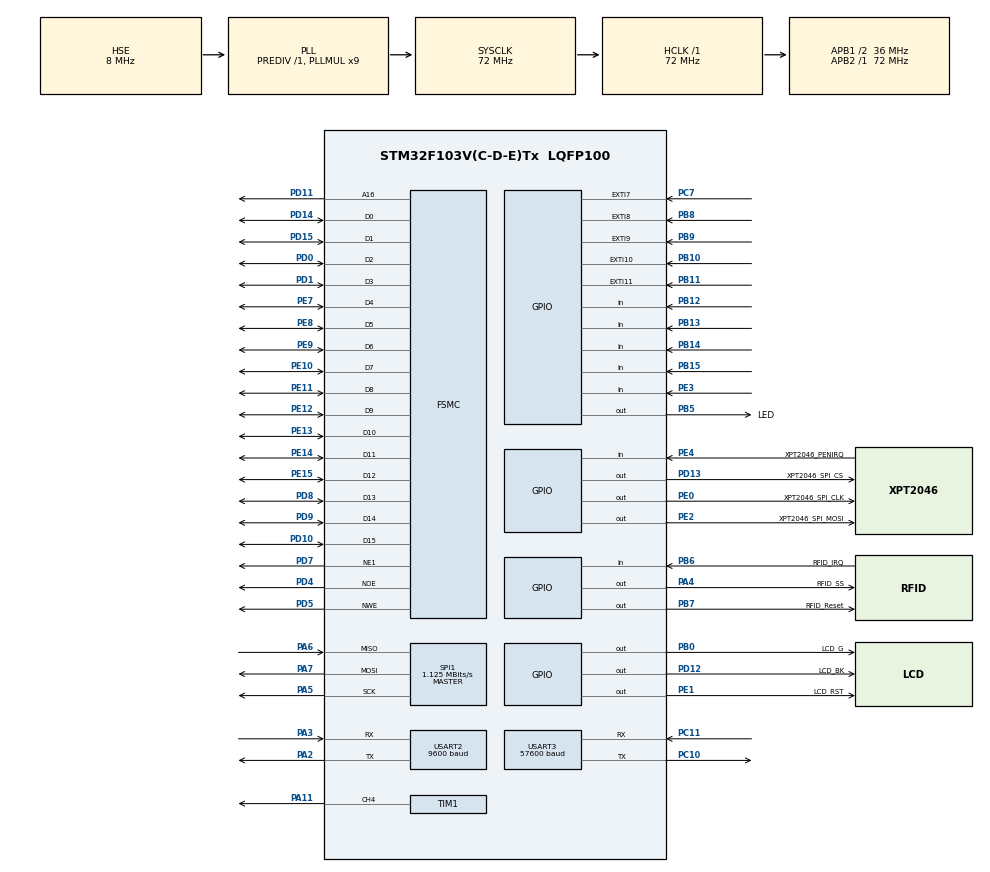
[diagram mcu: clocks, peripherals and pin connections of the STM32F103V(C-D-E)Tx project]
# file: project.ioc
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Mcu.Family=STM32F1
Mcu.Name=STM32F103V(C-D-E)Tx
Mcu.Package=LQFP100
NVIC.EXTI15_10_IRQn=true\:3\:0\:true\:false\:true\:true\:true\:true
NVIC.EXTI9_5_IRQn=true\:3\:0\:true\:false\:true\:true\:true\:true
NVIC.PriorityGroup=NVIC_PRIORITYGROUP_4
NVIC.TIM2_IRQn=true\:0\:0\:false\:false\:true\:true\:true\:true
NVIC.TIM5_IRQn=true\:2\:0\:true\:false\:true\:true\:true\:true
NVIC.USART2_IRQn=true\:0\:0\:false\:false\:true\:true\:true\:true
NVIC.USART3_IRQn=true\:0\:0\:false\:false\:true\:true\:true\:true
OSC_IN.Mode=HSE-External-Oscillator
OSC_IN.Signal=RCC_OSC_IN
OSC_OUT.Mode=HSE-External-Oscillator
OSC_OUT.Signal=RCC_OSC_OUT
PA11.GPIO_Speed=GPIO_SPEED_FREQ_HIGH
PA11.Signal=S_TIM1_CH4
PA13.Mode=Serial_Wire
PA13.Signal=SYS_JTMS-SWDIO
PA14.Mode=Serial_Wire
PA14.Signal=SYS_JTCK-SWCLK
PA2.Mode=Asynchronous
PA2.Signal=USART2_TX
PA3.Mode=Asynchronous
PA3.Signal=USART2_RX
PA4.GPIO_Label=RFID_SS
PA4.GPIO_PuPd=GPIO_NOPULL
PA4.GPIO_Speed=GPIO_SPEED_FREQ_HIGH
PA4.PinState=GPIO_PIN_SET
PA4.Signal=GPIO_Output
PA5.Mode=Full_Duplex_Master
PA5.Signal=SPI1_SCK
PA6.Mode=Full_Duplex_Master
PA6.Signal=SPI1_MISO
PA7.Mode=Full_Duplex_Master
PA7.Signal=SPI1_MOSI
PA8.GPIO_Speed=GPIO_SPEED_FREQ_HIGH
PA8.Signal=RCC_MCO
PB0.GPIO_Label=LCD_G
PB0.GPIO_Speed=GPIO_SPEED_FREQ_HIGH
PB0.PinState=GPIO_PIN_SET
PB0.Signal=GPIO_Output
PB10.GPIO_ModeDefaultEXTI=GPIO_MODE_IT_FALLING
PB10.GPIO_PuPd=GPIO_PULLUP
PB10.Signal=GPXTI10
PB11.GPIO_PuPd=GPIO_PULLUP
PB11.Signal=GPXTI11
PB12.GPIO_PuPd=GPIO_PULLDOWN
PB12.Signal=GPIO_Input
PB13.GPIO_PuPd=GPIO_PULLDOWN
PB13.Signal=GPIO_Input
PB14.GPIO_PuPd=GPIO_PULLDOWN
PB14.Signal=GPIO_Input
PB15.GPIO_Mode=GPIO_MODE_INPUT
PB15.GPIO_PuPd=GPIO_PULLDOWN
PB15.Signal=GPIO_Input
PB5.GPIO_Label=LED
PB5.GPIO_Speed=GPIO_SPEED_FREQ_HIGH
PB5.PinState=GPIO_PIN_SET
PB5.Signal=GPIO_Output
PB6.GPIO_Label=RFID_IRQ
PB6.Signal=GPIO_Input
PB7.GPIO_Label=RFID_Reset
PB7.GPIO_Speed=GPIO_SPEED_FREQ_HIGH
PB7.Signal=GPIO_Output
PB8.GPIO_ModeDefaultEXTI=GPIO_MODE_IT_FALLING
PB8.GPIO_PuPd=GPIO_PULLUP
PB8.Signal=GPXTI8
PB9.GPIO_ModeDefaultEXTI=GPIO_MODE_IT_FALLING
PB9.GPIO_PuPd=GPIO_PULLUP
PB9.Signal=GPXTI9
PC10.Mode=Asynchronous
PC10.Signal=USART3_TX
PC11.Mode=Asynchronous
PC11.Signal=USART3_RX
PC14-OSC32_IN.Mode=LSE-External-Oscillator
PC14-OSC32_IN.Signal=RCC_OSC32_IN
PC15-OSC32_OUT.Mode=LSE-External-Oscillator
PC15-OSC32_OUT.Signal=RCC_OSC32_OUT
PC7.GPIO_ModeDefaultEXTI=GPIO_MODE_IT_FALLING
PC7.GPIO_PuPd=GPIO_PULLUP
PC7.Signal=GPXTI7
PD0.Mode=16b-d1
PD0.Signal=FSMC_D2
PD1.Mode=16b-d1
PD1.Signal=FSMC_D3
PD10.Mode=16b-d1
PD10.Signal=FSMC_D15
PD11.Mode=A16_1
PD11.Signal=FSMC_A16
PD12.GPIO_Label=LCD_BK
PD12.GPIO_Speed=GPIO_SPEED_FREQ_LOW
PD12.PinState=GPIO_PIN_RESET
PD12.Signal=GPIO_Output
PD13.GPIO_Label=XPT2046_SPI_CS
PD13.PinState=GPIO_PIN_RESET
PD13.Signal=GPIO_Output
PD14.Mode=16b-d1
PD14.Signal=FSMC_D0
PD15.Mode=16b-d1
PD15.Signal=FSMC_D1
PD4.Mode=Lcd1
PD4.Signal=FSMC_NOE
PD5.Mode=Lcd1
PD5.Signal=FSMC_NWE
PD7.Mode=NorPsramChipSelect1_1
PD7.Signal=FSMC_NE1
PD8.Mode=16b-d1
PD8.Signal=FSMC_D13
PD9.Mode=16b-d1
PD9.Signal=FSMC_D14
PE0.GPIO_Label=XPT2046_SPI_CLK
PE0.Signal=GPIO_Output
PE1.GPIO_Label=LCD_RST
PE1.GPIO_Speed=GPIO_SPEED_FREQ_LOW
PE1.Signal=GPIO_Output
PE10.Mode=16b-d1
PE10.Signal=FSMC_D7
PE11.Mode=16b-d1
PE11.Signal=FSMC_D8
PE12.Mode=16b-d1
PE12.Signal=FSMC_D9
PE13.Mode=16b-d1
PE13.Signal=FSMC_D10
PE14.Mode=16b-d1
PE14.Signal=FSMC_D11
PE15.Mode=16b-d1
PE15.Signal=FSMC_D12
PE2.GPIO_Label=XPT2046_SPI_MOSI
PE2.Signal=GPIO_Output
PE3.Signal=GPIO_Input
PE4.GPIO_Label=XPT2046_PENIRQ
PE4.GPIO_Mode=GPIO_MODE_INPUT
PE4.Signal=GPIO_Input
PE7.Mode=16b-d1
PE7.Signal=FSMC_D4
PE8.Mode=16b-d1
PE8.Signal=FSMC_D5
PE9.Mode=16b-d1
PE9.Signal=FSMC_D6
ProjectManager.HeapSize=0x200
ProjectManager.StackSize=0x400
ProjectManager.TargetToolchain=STM32CubeIDE
RCC.AHBFreq_Value=72000000
RCC.APB1CLKDivider=RCC_HCLK_DIV2
RCC.APB1Freq_Value=36000000
RCC.APB1TimFreq_Value=72000000
RCC.APB2Freq_Value=72000000
RCC.APB2TimFreq_Value=72000000
RCC.HCLKFreq_Value=72000000
RCC.HSICalibrationValue=16
RCC.PLLMUL=RCC_PLL_MUL9
RCC.PLLSourceVirtual=RCC_PLLSOURCE_HSE
RCC.SYSCLKFreq_VALUE=72000000
RCC.SYSCLKSource=RCC_SYSCLKSOURCE_PLLCLK
RCC.USBFreq_Value=72000000
RTC.Date=28
RTC.Format=RTC_FORMAT_BCD
RTC.Hours=11
RTC.Minutes=30
RTC.Month=RTC_MONTH_NOVEMBER
RTC.Seconds=0
RTC.WeekDay=RTC_WEEKDAY_THURSDAY
RTC.Year=24
SH.S_TIM1_CH4.0=TIM1_CH4,PWM Generation4 CH4
SPI1.BaudRatePrescaler=SPI_BAUDRATEPRESCALER_64
SPI1.CalculateBaudRate=1.125 MBits/s
SPI1.Direction=SPI_DIRECTION_2LINES
SPI1.FirstBit=SPI_FIRSTBIT_LSB
SPI1.Mode=SPI_MODE_MASTER
SPI1.VirtualType=VM_MASTER
TIM1.Channel-PWM\ Generation4\ CH4=TIM_CHANNEL_4
TIM1.OCPolarity_4=TIM_OCPOLARITY_LOW
TIM1.Period=200-1
TIM1.Prescaler=3200-1
TIM1.Pulse-PWM\ Generation4\ CH4=190
TIM2.AutoReloadPreload=TIM_AUTORELOAD_PRELOAD_ENABLE
TIM2.Period=1999
TIM2.Prescaler=720
TIM5.AutoReloadPreload=TIM_AUTORELOAD_PRELOAD_DISABLE
TIM5.Period=9999
TIM5.Prescaler=7999
USART2.BaudRate=9600
USART2.VirtualMode=VM_ASYNC
USART3.BaudRate=57600
USART3.VirtualMode=VM_ASYNC
VP_RTC_VS_RTC_Activate.Mode=RTC_Enabled
VP_RTC_VS_RTC_Calendar.Mode=RTC_Calendar
VP_TIM1_VS_ClockSourceINT.Mode=Internal
VP_TIM2_VS_ClockSourceINT.Mode=Internal
VP_TIM5_VS_ClockSourceINT.Mode=Internal
board=custom

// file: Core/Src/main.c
/* USER CODE BEGIN Header */
/**
  ******************************************************************************
  * @file           : main.c
  * @brief          : Main program body
  ******************************************************************************
  * @attention
  *
  * <h2><center>&copy; Copyright (c) 2019 STMicroelectronics.
  * All rights reserved.</center></h2>
  *
  * This software component is licensed by ST under BSD 3-Clause license,
  * the "License"; You may not use this file except in compliance with the
  * License. You may obtain a copy of the License at:
  *                        opensource.org/licenses/BSD-3-Clause
  *
  ******************************************************************************
  */
/* USER CODE END Header */
#include "main.h"
#include "rtc.h"
#include "spi.h"
#include "tim.h"
#include "usart.h"
#include "gpio.h"
#include "fsmc.h"

/* USER CODE BEGIN Includes */
#include "lcdtp.h"
#include "xpt2046.h"
#include "help.h"
#include "pn532_stm32f1.h"
#include "mylibrary.h"
#include "syn6288.h"
#include <stdio.h>
#include <stdlib.h>
#include <time.h>
#include "as608.h"
/* USER CODE END Includes */

/* USER CODE BEGIN PD */

#define use_HEXADECIMAL

/* USER CODE END PD */

/* USER CODE BEGIN PV */

extern RTC_HandleTypeDef hrtc;
char now_time[20];

/* USER CODE END PV */

void SystemClock_Config(void);

/* USER CODE BEGIN 0 */

int testpassword = 0;
int oldpassword = 1234; // 全局变量
int managerpassword = 2345;
int position = 80;

strType_XPT2046_Coordinate strDisplayCoordinate; // 全局变量
char* NFC_KEYS[5] = {NULL}; // 初始化所有元素为NULL
char manager_nfc[50];
uint8_t returnToNFCMenu = 0; // 初始化标志位
int size_NFC = 1;

uint8_t RX_dat = 0;
int count = 0;
///////////////////////////////////////////////////////////
uint8_t SYS6288Rx = 0; // 语音模块接收缓冲�???????????????
extern uint8_t suoyidakai[] ;
extern uint8_t suoyiguanbi[];
extern uint8_t mimacuowu[]; // 密码错误
extern uint8_t jinruguanliyemian[]; // 进入管理员界�?
extern uint8_t tuichuguanliyemian[]; // �?出管理员界面
extern uint8_t cuowu[];
extern uint8_t jinggao[] ;// 警告
extern uint8_t jingbaojiechuy[];//警报解除
//////////////////////////////////////////////////////

void HAL_UART_RxCpltCallback(UART_HandleTypeDef *huart) //syn6288
{
	if (huart->Instance == USART2)
	{
		HAL_UART_Receive_IT(&huart2, &SYS6288Rx, 1);
		//HAL_UART_Receive_IT(&UART2_Handler, &SYS6288Rx, 1);
	}
}

volatile uint32_t seconds = 0;
char left_scond[255];

void HAL_TIM_PeriodElapsedCallback(TIM_HandleTypeDef *htim) {
    if (htim->Instance == TIM5) { // 假设使用TIM2
        seconds++;
    }
}

uint16_t currentFingerprintCount = 0;

/////////////"ERROR-time"///////////////////////
int test_time = 0;
int finger_time = 0;
int nfc_time = 0;
/////////////////////////////////////////////////
int returnTomain = 0;
int enter = 0;
/* USER CODE END 0 */

int main(void)
{
  /* USER CODE BEGIN 1 */
	 NFC_KEYS[0] = strdup("8A 19 43 02");
  /* USER CODE END 1 */

  /* MCU Configuration--------------------------------------------------------*/

  /* Reset of all peripherals, Initializes the Flash interface and the Systick. */
  HAL_Init();

  /* Configure the system clock */
  SystemClock_Config();

  /* Initialize all configured peripherals */
  MX_GPIO_Init();
  MX_FSMC_Init();
  MX_TIM2_Init();
  MX_SPI1_Init();
  MX_TIM1_Init();
  MX_USART2_UART_Init();
  MX_TIM5_Init();
  MX_RTC_Init();
  MX_USART3_UART_Init();
  /* USER CODE BEGIN 2 */

  int currentPosition = 170;//lock
  HAL_TIM_PWM_Start(&htim1, TIM_CHANNEL_4);
  TIM1->CCR4 = currentPosition;
  HAL_Delay(200);

  macXPT2046_CS_DISABLE();

  LCD_INIT();

  LCD_Clear(50, 80, 140, 70, RED);
  LCD_DrawString(68, 100, "TOUCHPAD DEMO");
  HAL_Delay(2000);

  while (!XPT2046_Touch_Calibrate());

  //////////////////////"pn532-start"////////////////////
  HAL_Delay(1000);
  memset(buffer, 0, sizeof(buffer));
  HAL_TIM_Base_Start_IT(&htim2);
  HAL_TIM_Base_Start_IT(&htim5); // 启动定时器中�???????????

  uint8_t buff[255];
  uint8_t uid[MIFARE_UID_MAX_LENGTH];
 // int32_t uid_len = 0;

  PN532 pn532;
  PN532_SPI_Init(&pn532);
  HAL_Delay(100); // 等待PN532模块稳定

  int status = PN532_GetFirmwareVersion(&pn532, buff);
      if (status != PN532_STATUS_OK)
      {
          char debug_msg[50];
          sprintf(debug_msg, "Firmware version error: %d", status);
          LCD_DrawString(60, 160, debug_msg);
      while(1)
      {
    	  LCD_DrawString(60, 180, "can not go inside !");
      }
      }
      else
      {
    	  LCD_DrawString(60, 160, "hello oooooooo");
    	  HAL_Delay(100);
      }
  PN532_SamConfiguration(&pn532);

  ////////////////////"pn532-end///////////////
  ////////////////////"as608-start//////////////
  as608_init(); // initial the as608
  PS_Empty();

  ////////////////////"as608-end"///////////////

  /* USER CODE END 2 */

  /* Infinite loop */
  /* USER CODE BEGIN WHILE */

  strType_XPT2046_Coordinate strDisplayCoordinate;

  ///////////////////////////////

  ////////////////////////////////////

  // 绘制母循环界�????????????????????????????????
  DrawMainMenu();
  SYS6288_uartInit(9600);					//语音串口
  HAL_TIM_Base_Start(&htim5);

  while (1)
  {
      RTC_TimeTypeDef sTime;
      RTC_DateTypeDef sDate;

      // 获取当前时间
      HAL_RTC_GetTime(&hrtc, &sTime, RTC_FORMAT_BIN);
      HAL_RTC_GetDate(&hrtc, &sDate, RTC_FORMAT_BIN);

      char* week_days[] = {"Sun", "Mon", "Tue", "Wed", "Thu", "Fri", "Sat"};
      char now_date[20];
      sprintf(now_date, "%04d-%02d-%02d %s", 2000 + sDate.Year, sDate.Month, sDate.Date, week_days[sDate.WeekDay - 1]);
      LCD_DrawString(60, 20, now_date);

      // 将时间转换为字符串并显示在LCD�?????????
      sprintf(now_time, "%02d:%02d:%02d", sTime.Hours, sTime.Minutes, sTime.Seconds);
      LCD_DrawString(80, 40, now_time); // 在位�?????????(10, 120)显示时间字符�?????????

    if (XPT2046_Get_TouchedPoint(&strDisplayCoordinate, &strXPT2046_TouchPara))
    {
    	if(TIM1->CCR4 == 150)
    	{
        	currentPosition = 163;
        	TIM1->CCR4 = currentPosition;
        	SYN_FrameInfo(0, suoyiguanbi);
    	}

    	//进入蓝色区域
    	if ((strDisplayCoordinate.y > 120) && (strDisplayCoordinate.y < 230) && (strDisplayCoordinate.x > 150) && (strDisplayCoordinate.x < 230))
    	{
    		HAL_Delay(50);
    		DrawNFCMenu(); // NFC解锁界面

    		seconds = 0;
    		returnTomain = 0;

    		while(1)
    		{
                if (XPT2046_Get_TouchedPoint(&strDisplayCoordinate, &strXPT2046_TouchPara))
    			{
                	seconds = 0;
                      if ((strDisplayCoordinate.y > 0) && (strDisplayCoordinate.y < 60))
                      {
                        if ((strDisplayCoordinate.x > 0) && (strDisplayCoordinate.x < 60))
                        {
                          DrawMainMenu(); // 重新绘制母循环界�????????????????????????????????
                          break; // �????????????????????????????????出子循环，回到母循环
                        }
                      }
                      if ((strDisplayCoordinate.y > 190) && (strDisplayCoordinate.y < 310) && (strDisplayCoordinate.x > 10) && (strDisplayCoordinate.x < 110))
                      {
                        	 Draw_adding_NFC();
                        	 while(1)
                        	 {
                                 sprintf(left_scond, "%lu  ", (30 - seconds));
                                 LCD_DrawString(80, 47, "left time:");
                                 LCD_DrawString(170, 47, left_scond);

                                 if (seconds >= 30) {
                        			 seconds = 0;
                                	 DrawNFCMenu(); // NFC解锁界面
                                     break; // �????????????????????????????????出子循环，回到母循环
                                 }

                        		 if (XPT2046_Get_TouchedPoint(&strDisplayCoordinate, &strXPT2046_TouchPara))
                        		 {
                                     if ((strDisplayCoordinate.y > 0) && (strDisplayCoordinate.y < 60) && (strDisplayCoordinate.x > 0) && (strDisplayCoordinate.x < 60))
                                     {
                            			 seconds = 0;
                                    	 DrawNFCMenu(); // NFC解锁界面
                                         break; // �????????????????????????????????出子循环，回到母循环
                                     }
                        		 }
                        		 adding_nfc_card(&pn532, buffer, uid);
                        		 if (returnToNFCMenu == 1)
                        		 {
                        			 seconds = 0;
                                	 DrawNFCMenu(); // NFC解锁界面
                                	 returnToNFCMenu = 0;
                                     break; // �????????????????????????????????出子循环，回到母循环
                        		 }
                        	 }
                        }
                      ///////////////////////////////////////
                      if ((strDisplayCoordinate.y > 260) && (strDisplayCoordinate.y < 310) && (strDisplayCoordinate.x > 120) && (strDisplayCoordinate.x < 220))
                      {
                     	 Draw_delete_NFC();
                     	 seconds = 0;
                     	 while(1)
                     	 {
                              sprintf(left_scond, "%lu  ", (30 - seconds));
                              LCD_DrawString(80, 47, "left time:");
                              LCD_DrawString(170, 47, left_scond);

                              if (seconds >= 30) {
                     			 seconds = 0;
                             	 DrawNFCMenu(); // NFC解锁界面
                                  break; // �????????????????????????????????出子循环，回到母循环
                              }

                     		 if (XPT2046_Get_TouchedPoint(&strDisplayCoordinate, &strXPT2046_TouchPara))
                     		 {
                                  if ((strDisplayCoordinate.y > 0) && (strDisplayCoordinate.y < 60) && (strDisplayCoordinate.x > 0) && (strDisplayCoordinate.x < 60))
                                  {
                                 	 DrawNFCMenu(); // NFC解锁界面
                                 	 seconds = 0;
                                      break; // �????????????????????????????????出子循环，回到母循环
                                  }
                     		 }
                     		delete_nfc_card_libr(&pn532, buffer, uid);
                     		 if (returnToNFCMenu == 1)
                     		 {
                             	 DrawNFCMenu(); // NFC解锁界面
                             	 returnToNFCMenu = 0;
                             	 seconds = 0;
                                  break; // �????????????????????????????????出子循环，回到母循环
                     		 }
                     	 }
                      }
                      ///////////////////////////////////////////
                      if ((strDisplayCoordinate.y > 190) && (strDisplayCoordinate.y < 240) && (strDisplayCoordinate.x > 120) && (strDisplayCoordinate.x < 220))
                      {
                        	 Draw_delete_NFC();
                        	 seconds = 0;
                        	 while(1)
                        	 {
                                 sprintf(left_scond, "%lu  ", (30 - seconds));
                                 LCD_DrawString(80, 47, "left time:");
                                 LCD_DrawString(170, 47, left_scond);

                                 if (seconds >= 30) {
                        			 seconds = 0;
                                	 DrawNFCMenu(); // NFC解锁界面
                                     break; // �????????????????????????????????出子循环，回到母循环
                                 }

                        		 if (XPT2046_Get_TouchedPoint(&strDisplayCoordinate, &strXPT2046_TouchPara))
                        		 {
                                     if ((strDisplayCoordinate.y > 0) && (strDisplayCoordinate.y < 60) && (strDisplayCoordinate.x > 0) && (strDisplayCoordinate.x < 60))
                                     {
                                    	 DrawNFCMenu(); // NFC解锁界面
                                    	 seconds = 0;
                                         break; // �????????????????????????????????出子循环，回到母循环
                                     }
                        		 }
                        		 delete_nfc_card(&pn532, buffer, uid);
                        		 if (returnToNFCMenu == 1)
                        		 {
                                	 DrawNFCMenu(); // NFC解锁界面
                                	 returnToNFCMenu = 0;
                                	 seconds = 0;
                                     break; // �????????????????????????????????出子循环，回到母循环
                        		 }
                        	 }
                        }

    			}
                CheckUIDAndControlLock(&pn532, buffer, uid, &currentPosition);//scan nfc uid

                /////////////////////////////////

                sprintf(left_scond, "%lu  ", (30-seconds));
                LCD_DrawString(80,30,"left time:");
                LCD_DrawString(170, 30, left_scond);

                if (seconds >= 30)
                {
                DrawMainMenu();
                 break; // �????????????????????????????????出子循环，回到母循环
                }
                ///////////////////////////////////

                if(nfc_time == 5)
                {
      	    	  LCD_Clear(0, 150, 240, 80, RED);
      	    	  LCD_DrawString(10, 160, "Trial and error reached five");
      	    	  LCD_DrawString(10, 180, "Please try again later.");
      	    	  seconds = 0;
      	    	  while (seconds < 30)
      	    	  {
      	    		HAL_GPIO_WritePin(GPIOB, GPIO_PIN_5, GPIO_PIN_RESET);
    	    		SYN_FrameInfo(0, cuowu);
        	    	HAL_GPIO_WritePin(GPIOB, GPIO_PIN_5, GPIO_PIN_SET);
      	    		sprintf(left_scond, "%lu  ", (30-seconds));
      	            LCD_DrawString(10,200,"stop time:");
      	            LCD_DrawString(110, 200, left_scond);
      	    	  }
      	    	  seconds = 0;
      	    	  DrawNFCMenu(); // NFC解锁界面
      	    	  nfc_time++;
      	    	returnToNFCMenu = 0;
                }
                if (nfc_time == 10)
                {
                    LCD_Clear(0, 0, 240, 320, GREY);
                    LCD_Clear(0, 0, 240, 80, RED);
                    LCD_DrawString(10, 20, "error time reached maximum");
                    LCD_DrawString(10, 40, "Please find the manager");

                    LCD_DrawString(0, 90, "Please press your finger:");
                    LCD_DrawLine(0, 180, 200, 180, BLACK);
                    LCD_DrawString(0, 190, "OR enter manager password:");
                    LCD_DrawString(0, 210, "manager password:");
                    HAL_Delay(1000);

                    position = 150;
                    testpassword = 0;

                    while (nfc_time != 0)
                    {
        	    		HAL_GPIO_WritePin(GPIOB, GPIO_PIN_5, GPIO_PIN_RESET);
        	    		SYN_FrameInfo(0, jinggao);
        	    		HAL_GPIO_WritePin(GPIOB, GPIO_PIN_5, GPIO_PIN_SET);
                        char keyCH = Get_Key_Ch();

                        HAL_Delay(100);
                        if (keyCH >= '0' && keyCH <= '9') // 打印数字并计算密�?
                        {
                            LCD_DrawChar(position, 210, '*');
                            HAL_Delay(200);
                            position += 9;
                            testpassword = testpassword * 10 + (keyCH - '0');
                            if (position == 186)
                            {
                                position = 150;
                                if (testpassword == managerpassword)
                                {
                                    LCD_DrawString(10, 230, "THE PASSWORD IS CORRECT");
                                    HAL_Delay(2000);
                                    nfc_time = 0;
                                }
                                else
                                {
                                    LCD_DrawString(10, 230, "THE PASSWORD IS WRONG");
                                    HAL_Delay(2000);
                                    LCD_Clear(0, 230, 240, 16, GREY);
                                }
                                LCD_Clear(150, 210, 36, 16, GREY);
                                testpassword = 0;
                            }
                        }
                        if (keyCH == 'A') // 减少�?个数�?
                        {
                            if (position == 150) continue;
                            position -= 9;
                            LCD_Clear(position, 210, 8, 16, GREY);
                            testpassword /= 10;
                        }
                        if (keyCH == 'C') // 清除数字
                        {
                            position = 150;
                            testpassword = 0;
                            LCD_Clear(150, 210, 36, 16, GREY);
                        }

                        uint8_t ensure;
                        SearchResult search;
                        ensure = PS_GetImage();
                        if (ensure == 0x00) // 获取图像成功，表示有手指按下
                        {
                            ensure = PS_GenChar(CharBuffer1);
                            if (ensure == 0x00) // 生成特征成功
                            {
                                ensure = PS_HighSpeedSearch(CharBuffer1, 0, 99, &search);
                                if (ensure == 0x00 && search.pageID == 0) // 搜索成功且匹配管理员ID
                                {
                                    LCD_DrawString(0, 110, "Admin verified");
                                    nfc_time = 0;
                                    HAL_Delay(2000);
                                }
                                else
                                {
                                    LCD_DrawString(0, 110, "Verification failed");
                                    HAL_Delay(2000);
                                    LCD_Clear(0, 110, 240, 16, GREY);
                                }
                            }
                        }
                        else
                        {
                            LCD_Clear(0, 110, 240, 16, GREY);
                            LCD_DrawString(0, 110, "No finger detected");
                            LCD_DrawLine(0, 128, 150, 128, BLACK);
                            HAL_Delay(1500);
                        }
                    }
                    LCD_Clear(0, 0, 240, 360, GREY);
                    LCD_Clear(40, 70, 200, 60, GREY);
                    LCD_Clear(40, 70, 180, 60, GREEN);
                    LCD_DrawString(50, 80, "SYSTEM BACK TO NORMAL");
        	    	SYN_FrameInfo(0, jingbaojiechuy);
                    returnToNFCMenu = 1;
                    DrawMainMenu();
                    HAL_Delay(500);
                }

          		 if (returnTomain == 1)
          		 {
                    DrawMainMenu();
                    returnToNFCMenu = 0;
                    break; // �????????????????????????????????出子循环，回到母循环
          		 }
            }
          }

    	//进入指纹区域
    	if ((strDisplayCoordinate.y > 240) && (strDisplayCoordinate.y < 320) && (strDisplayCoordinate.x > 0) && (strDisplayCoordinate.x < 110))
    	{
    		returnTomain = 0;
    		HAL_Delay(50);
    		Draw_FINGER_Menu();
    		while (PS_HandShake(&AS608Addr))
    		{
    			LCD_DrawString(0, 160, "AS608 NO NO");
    		}

    		seconds = 0;
    		while(1)
    		{
                sprintf(left_scond, "%lu  ", (30-seconds));
                LCD_DrawString(80,30,"left time:");
                LCD_DrawString(170, 30, left_scond);

                if (seconds >= 30)
                {
                DrawMainMenu();
                 break; // �????????????????????????????????出子循环，回到母循环
                }
            	if(fingerprintLibrary[0] == 0)
            	{
            		Add_FR();		//管理者指�?
            	}

            if (XPT2046_Get_TouchedPoint(&strDisplayCoordinate, &strXPT2046_TouchPara))
            {
            	seconds = 0;
              if ((strDisplayCoordinate.y > 0) && (strDisplayCoordinate.y < 60))
              {
                if ((strDisplayCoordinate.x > 0) && (strDisplayCoordinate.x < 60))
                {
                  DrawMainMenu(); // 重新绘制母循环界�????????????????????????????????
                  break; // �????????????????????????????????出子循环，回到母循环
                }
              }
              if ((strDisplayCoordinate.y > 190) && (strDisplayCoordinate.y < 310) && (strDisplayCoordinate.x > 10) && (strDisplayCoordinate.x < 110))
              {
            	  add_finger_Menu();
            	  add_finger();
              }
              if ((strDisplayCoordinate.y > 190) && (strDisplayCoordinate.y < 240) && (strDisplayCoordinate.x > 120) && (strDisplayCoordinate.x < 220))
              {
            	  delete_finger_Menu();
            	  Del_FR();
              }
              if ((strDisplayCoordinate.y > 260) && (strDisplayCoordinate.y < 310) && (strDisplayCoordinate.x > 120) && (strDisplayCoordinate.x < 220))
              {
            	  delete_finger_Menu();
            	  Del_FR_Lib();
              }
            }
            press_FR();
      		 if (returnTomain == 1)
      		 {
                DrawMainMenu();
                returnToNFCMenu = 0;
                break; // �????????????????????????????????出子循环，回到母循环
      		 }
            if (finger_time == 5)
            {
            	  LCD_Clear(0, 150, 240, 80, RED);
            	  LCD_DrawString(10, 160, "Trial and error reached five");
            	  LCD_DrawString(10, 180, "Please try again later.");
            	  seconds = 0;
            	while (seconds < 30)
            	{
    	    		HAL_GPIO_WritePin(GPIOB, GPIO_PIN_5, GPIO_PIN_RESET);
    	    		SYN_FrameInfo(0, cuowu);
        	    	HAL_GPIO_WritePin(GPIOB, GPIO_PIN_5, GPIO_PIN_SET);
            		sprintf(left_scond, "%lu  ", (30-seconds));
                    LCD_DrawString(10,200,"stop time:");
                    LCD_DrawString(110, 200, left_scond);
            	}
            	seconds = 0;
            	Draw_FINGER_Menu();
            	finger_time++;
            }
            if (finger_time == 10)
            {
    	    	LCD_Clear(0, 0, 240, 320, GREY);
    	    	LCD_Clear(0, 0, 240, 80, RED);
    	    	LCD_DrawString(10, 20, "error time reached maximum");
    	    	LCD_DrawString(10, 40, "Please find the manager");

    	    	LCD_DrawString(0, 90, "Please scan your NFC card:");
    	    	LCD_DrawLine(0, 180, 200, 180, BLACK);
    	    	LCD_DrawString(0, 190, "OR enter your manager password:");
    	    	LCD_DrawString(0, 210, "manager password:");

                position = 150;
                testpassword = 0;

    	    	while (finger_time != 0)
    	    	{

    	    		HAL_GPIO_WritePin(GPIOB, GPIO_PIN_5, GPIO_PIN_RESET);
    	    		SYN_FrameInfo(0, jinggao);
    	    		HAL_GPIO_WritePin(GPIOB, GPIO_PIN_5, GPIO_PIN_SET);

    	    		uint8_t uid[7]; // 假设 UID 长度�? 7
    	    		int32_t uid_len = PN532_ReadPassiveTarget(&pn532, uid, PN532_MIFARE_ISO14443A, 1000);
    	    		if (uid_len != PN532_STATUS_ERROR)
    	    		{
    	    		    memset(buffer, 0, 50);
    	    		    char stringForHex[5];
    	    		    for (uint8_t i = 0; i < uid_len; i++)
    	    		    {
    	    		        memset(stringForHex, 0, sizeof(stringForHex));
    	    		        #ifdef use_HEXADECIMAL
    	    		        sprintf(stringForHex, "%02X ", (unsigned char)uid[i]);
    	    		        #else
    	    		        sprintf(stringForHex, "%d ", (unsigned char)uid[i]);
    	    		        #endif
    	    		        strcat(buffer, stringForHex);
    	    		    }
    	    		    buffer[strlen(buffer) - 1] = '\0'; // 去掉�?后一个空�?
    	    		    LCD_DrawString(0, 110,"UID:"); // 显示UID
    	    		    LCD_DrawString(60, 110, buffer); // 显示UID

    	    		    // �?查读取到的UID是否与第�?个允许的UID匹配
    	    		    int isAllowed = 0;
    	    		    if (NFC_KEYS[0] != NULL && string_compare(buffer, NFC_KEYS[0], strlen(NFC_KEYS[0])) == 1)
    	    		    {
    	    		        isAllowed = 1;
    	    		    }

    	    		    // 根据 isAllowed 的�?�执行相应操�?
    	    		    if (isAllowed)
    	    		    {
    	    		    	LCD_DrawString(0, 130,"manager card"); //验证成功
    	    		    	finger_time = 0;
    	    		    	HAL_Delay(2000);
    	    		    }
    	    		    else
    	    		    {
    	    		    	LCD_DrawString(0, 130,"strange card");
    	    		    	LCD_Clear(0,110,240,40,GREY);
    	    		    }
    	    		} //end nfc

            	    char keyCH = Get_Key_Ch();

            	    HAL_Delay(100); // Debounce delay
            	    if (keyCH >= '0' && keyCH <='9') //print number and calculate the password
            	    {
            	    	LCD_DrawChar(position, 210, '*');
            	    	HAL_Delay(200);
            	        position = position + 9;
            	        testpassword = testpassword*10 + (keyCH-'0');
            	        if(position == 186)
            	        {
            	        	position = 150;
                	        if (testpassword == managerpassword)
                	        {
                            LCD_DrawString(10, 230, "THE PASSWORD IS CORRECT");
                	        HAL_Delay(2000);
                            finger_time = 0;
                	        }
                	        else
                	        {
                	        	LCD_DrawString(10, 230, "THE PASSWORD IS WRONG");
                	        	HAL_Delay(2000);
                	        	LCD_Clear(0, 230, 240, 16, GREY);
                	        }
            	        	LCD_Clear(150, 210, 36, 16, GREY);
            	        	testpassword = 0;
            	        }
            	    }
            	    if (keyCH == 'A') //decrease one number
            	    {
            	    	if (position == 150) continue;
            	    	position = position - 9;
            	    	LCD_Clear(position, 210, 8, 16, GREY);
            	    	testpassword = testpassword/10;
            	    }
            	    if (keyCH == 'C') // CLEAR NUMBER
            	    {
            	    	position = 150;
            	    	testpassword = 0000;
            	    	LCD_Clear(150, 210, 36, 16, GREY);
            	    }

    	    	}
    	    	LCD_Clear(0, 0, 240, 360, GREY);
    	    	LCD_Clear(40, 70, 180, 60, GREEN);
    	    	LCD_DrawString(50, 80, "SYSTEM BACK TO NORMAL");
    	    	SYN_FrameInfo(0, jingbaojiechuy);
                DrawMainMenu();
                 break;
            }
    	}
    	}

      // 判断是否在蓝数字密码
      if ((strDisplayCoordinate.y > 150) && (strDisplayCoordinate.y < 230) && (strDisplayCoordinate.x > 0) && (strDisplayCoordinate.x < 110))
      {
    	  HAL_Delay(50);
          DrawSubMenu(); // 进入子循环前绘制子菜�????????????????????????????????
          position = 80;
          seconds = 0;
          testpassword = 0;
          while (1)
          {
              sprintf(left_scond, "%lu  ", (30-seconds));
              LCD_DrawString(80,30,"left time:");
              LCD_DrawString(170, 30, left_scond);

              if (seconds >= 30)
              {
              DrawMainMenu();
               break; // �????????????????????????????????出子循环，回到母循环
              }

        	    char keyCH = Get_Key_Ch();
        	    HAL_Delay(200); // Debounce delay
        	    if (keyCH >= '0' && keyCH <='9') //print number and calculate the password
        	    {
        	    	seconds = 0;
        	    	LCD_DrawChar(position, 120, keyCH);
        	    	HAL_Delay(100);
        	        LCD_DrawChar(position, 120, '*');
        	        position = position + 9;
        	        testpassword = testpassword*10 + (keyCH-'0');
        	        if(position == 107+9)
        	        {
        	        	position = 80;
            	        if (testpassword == oldpassword)
            	        {
            	        	test_time = 0;
            	        	LCD_Clear(40, 150, 200, 70, GREEN);
            	        	LCD_DrawString(50, 170, "THE LOCK IS OPEN");
            	        	currentPosition = 150;
            	        	TIM1->CCR4 = currentPosition;
            	        	SYN_FrameInfo(0, suoyidakai);
            	        	HAL_GPIO_WritePin(GPIOB, GPIO_PIN_0, GPIO_PIN_RESET);
            	        	HAL_Delay(3000);		//�??????????????????????????门延�??????????????????????????
            	        	LCD_Clear(40, 150, 200, 70, GREY);
            	        	HAL_GPIO_WritePin(GPIOB, GPIO_PIN_0, GPIO_PIN_SET);
            	              DrawMainMenu();
            	               break;
            	        }
            	        else
            	        {
            	        	test_time++;
            	        	LCD_Clear(40, 150, 200, 70, RED);
            	        	LCD_DrawString(50, 170, "THE PASSWORD IS WRONG");
            	        	SYN_FrameInfo(0, mimacuowu);
            	        	HAL_GPIO_WritePin(GPIOB, GPIO_PIN_5, GPIO_PIN_RESET);
            	        	currentPosition = 1603;
            	        	TIM1->CCR4 = currentPosition;
            	        	HAL_Delay(3000);		//关门延迟
            	        	LCD_Clear(40, 150, 200, 70, GREY);
            	        	HAL_GPIO_WritePin(GPIOB, GPIO_PIN_5, GPIO_PIN_SET);

            	        }
        	        	LCD_Clear(80, 120, 36, 16, GREY);
        	        	testpassword = 0;
        	        }
        	    }
        	    if (keyCH == 'A') //decrease one number
        	    {
        	    	seconds = 0;
        	    	if (position == 80) continue;
        	    	position = position - 9;
        	    	LCD_Clear(position, 120, 8, 16, GREY);
        	    	testpassword = testpassword/10;
        	    }
        	    if (keyCH == 'C') // CLEAR NUMBER
        	    {
        	    	seconds = 0;
        	    	position = 80;
        	    	testpassword = 0000;
        	    	LCD_Clear(80, 120, 36, 16, GREY);
        	    }
        	    if (keyCH == 'D')
        	    {
        	    	seconds = 0;
        	        ResetPassword();
        	        testpassword = 0000;
        	        position = 80;
        	    }
        	    if (test_time == 5)
        	    {
        	    	  LCD_Clear(0, 150, 240, 80, RED);
        	    	  LCD_DrawString(10, 160, "Trial and error reached five");
        	    	  LCD_DrawString(10, 180, "Please try again later.");
        	    	  seconds = 0;
        	    	while (seconds < 30)
        	    	{
        	        	HAL_GPIO_WritePin(GPIOB, GPIO_PIN_5, GPIO_PIN_RESET);
        	        	SYN_FrameInfo(0, cuowu);
        	        	//HAL_Delay(1000);
        	            HAL_GPIO_WritePin(GPIOB, GPIO_PIN_5, GPIO_PIN_SET);
        	    		sprintf(left_scond, "%lu  ", (30-seconds));
        	            LCD_DrawString(10,200,"stop time:");
        	            LCD_DrawString(110, 200, left_scond);

        	    	}
        	    	seconds = 0;
        	    	DrawSubMenu();
        	    	test_time++;
        	    }
        	    if (test_time == 10)
        	    {
        	    	LCD_Clear(0, 0, 240, 320, GREY);
        	    	LCD_Clear(0, 0, 240, 80, RED);
        	    	LCD_DrawString(10, 20, "error time reached maximum");
        	    	LCD_DrawString(10, 40, "Please find the manager");
        	    	LCD_DrawString(10, 40, "Please find the manager");

        	    	LCD_DrawString(0, 90, "Please scan your card:");
        	    	LCD_DrawLine(0, 180, 200, 180, BLACK);
        	    	LCD_DrawString(0, 190, "OR press your finger:");

        	    	while (test_time != 0)
        	    	{
        	    		HAL_GPIO_WritePin(GPIOB, GPIO_PIN_5, GPIO_PIN_RESET);
        	    		SYN_FrameInfo(0, jinggao);
        	    		//HAL_Delay(100);
        	    		HAL_GPIO_WritePin(GPIOB, GPIO_PIN_5, GPIO_PIN_SET);
        	    		uint8_t uid[7]; // 假设 UID 长度�? 7
        	    		int32_t uid_len = PN532_ReadPassiveTarget(&pn532, uid, PN532_MIFARE_ISO14443A, 1000);
        	    		if (uid_len != PN532_STATUS_ERROR)
        	    		{
        	    		    memset(buffer, 0, 50);
        	    		    char stringForHex[5];
        	    		    for (uint8_t i = 0; i < uid_len; i++)
        	    		    {
        	    		        memset(stringForHex, 0, sizeof(stringForHex));
        	    		        #ifdef use_HEXADECIMAL
        	    		        sprintf(stringForHex, "%02X ", (unsigned char)uid[i]);
        	    		        #else
        	    		        sprintf(stringForHex, "%d ", (unsigned char)uid[i]);
        	    		        #endif
        	    		        strcat(buffer, stringForHex);
        	    		    }
        	    		    buffer[strlen(buffer) - 1] = '\0'; // 去掉�?后一个空�?
        	    		    LCD_DrawString(0, 110,"UID:"); // 显示UID
        	    		    LCD_DrawString(60, 110, buffer); // 显示UID

        	    		    // �?查读取到的UID是否与第�?个允许的UID匹配
        	    		    int isAllowed = 0;
        	    		    if (NFC_KEYS[0] != NULL && string_compare(buffer, NFC_KEYS[0], strlen(NFC_KEYS[0])) == 1)
        	    		    {
        	    		        isAllowed = 1;
        	    		    }

        	    		    // 根据 isAllowed 的�?�执行相应操�?
        	    		    if (isAllowed)
        	    		    {
        	    		    	LCD_DrawString(0, 130,"manager card"); //验证成功
        	    		    	test_time = 0;
        	    		    	HAL_Delay(2000);
        	    		    }
        	    		    else
        	    		    {
        	    		    	LCD_DrawString(0, 130,"strange card");
        	    		    	LCD_Clear(0,110,240,40,GREY);
        	    		    }
        	    		} //end nfc

        	    	    uint8_t ensure;
        	    	    SearchResult search;
        	            ensure = PS_GetImage();
        	            if (ensure == 0x00) // 获取图像成功，表示有手指按下
        	            {
        	                ensure = PS_GenChar(CharBuffer1);
        	                if (ensure == 0x00) // 生成特征成功
        	                {
        	                    ensure = PS_HighSpeedSearch(CharBuffer1, 0, 99, &search);
        	                    if (ensure == 0x00 && search.pageID == 0) // 搜索成功且匹配管理员ID
        	                    {
        	                        LCD_DrawString(0, 230, "Admin verified");
        	                        test_time = 0;
        	                        HAL_Delay(2000);
        	                    }
        	                    else
        	                    {
        	                        LCD_DrawString(0, 230, "Verification failed");
        	                        HAL_Delay(2000);
        	                        LCD_Clear(0,230,240,16,GREY);
        	                    }
        	                }

        	            }
        	            else
        	            {
        	                LCD_Clear(0, 210, 240, 16, GREY);
        	                LCD_DrawString(0, 210, "No finger detected");
        	                LCD_DrawLine(0, 228, 150, 228, BLACK);
        	                HAL_Delay(1500);
        	            }

        	    	}
        	    	LCD_Clear(0, 0, 240, 360, GREY);
        	    	LCD_Clear(40, 70, 200, 60, GREY);
        	    	LCD_Clear(40, 70, 180, 60, GREEN);
        	    	LCD_DrawString(50, 80, "Alarm deactivated.");
        	    	SYN_FrameInfo(0, jingbaojiechuy);
        	    	//HAL_Delay(2000);
                    DrawMainMenu();
                     break;
        	    }

              if (XPT2046_Get_TouchedPoint(&strDisplayCoordinate, &strXPT2046_TouchPara))
              {
            	  seconds = 0;
                  if ((strDisplayCoordinate.y > 0 && strDisplayCoordinate.y < 60) &&
                      (strDisplayCoordinate.x > 0 && strDisplayCoordinate.x < 60))
                  {
                      DrawMainMenu(); // Redraw main menu
                      break; // Exit to main loop
                  }

              }

          }

      }

      if ((strDisplayCoordinate.y > 0) && (strDisplayCoordinate.y < 60) && (strDisplayCoordinate.x > 180) && (strDisplayCoordinate.x < 240))
      {
          HAL_Delay(500);
    	  if (XPT2046_Get_TouchedPoint(&strDisplayCoordinate, &strXPT2046_TouchPara))
			{
                if ((strDisplayCoordinate.y > 0) && (strDisplayCoordinate.y < 60) && (strDisplayCoordinate.x > 0) && (strDisplayCoordinate.x < 60))
                  {

    	  testpassword = 0;
    	  position = 80;
    	  HAL_Delay(50);
    	  DrawmanagerMenu();
    	  seconds = 0;
    	  enter = 0;
    	  LCD_Clear(180,260,60,60,GREY);
    	  SYN_FrameInfo(0, jinruguanliyemian);
    	  while(1)
    	  {

        	  if (enter == -1)
        	  {
                  DrawMainMenu(); // Redraw main menu
                  SYN_FrameInfo(0, tuichuguanliyemian);
                  //HAL_Delay(200);
                  break; // Exit to main loop
        	  }
              sprintf(left_scond, "%lu  ", (30-seconds));
              LCD_DrawString(80,30,"left time:");
              LCD_DrawString(170, 30, left_scond);

              if (seconds >= 30)
              {
            	enter = -1;
              //DrawMainMenu();
               //break; // �????????????????????????????????出子循环，回到母循环
              }
              if (XPT2046_Get_TouchedPoint(&strDisplayCoordinate, &strXPT2046_TouchPara))
              {
              if ((strDisplayCoordinate.y > 0 && strDisplayCoordinate.y < 60) &&
                  (strDisplayCoordinate.x > 0 && strDisplayCoordinate.x < 60))
              {
            	  enter = -1;
                  //DrawMainMenu(); // Redraw main menu
                  //break; // Exit to main loop
              }
              }

      	    char keyCH = Get_Key_Ch();
      	    HAL_Delay(200); // Debounce delay
      	    if (keyCH >= '0' && keyCH <='9') //print number and calculate the password
      	    {
      	    	seconds = 0;
      	    	LCD_DrawChar(position, 120, keyCH);
      	    	HAL_Delay(100);
      	        LCD_DrawChar(position, 120, '*');
      	        position = position + 9;
      	        testpassword = testpassword*10 + (keyCH-'0');
      	        if(position == 107+9)
      	        {
      	        	position = 80;
          	        if (testpassword == managerpassword)
          	        {
          	        	LCD_Clear(40, 150, 200, 70, GREEN);
          	        	LCD_DrawString(50, 170, "ENTER MANAGER MODE");
          	        	HAL_Delay(3000);
          	        	LCD_Clear(40, 150, 200, 70, GREY);
          	        	enter = 1;
          	        }
          	        else
          	        {
          	        	LCD_Clear(40, 150, 200, 70, RED);
          	        	LCD_DrawString(50, 170, "THE PASSWORD IS WRONG");
          	        	HAL_Delay(3000);		//关门延迟
          	        	LCD_Clear(40, 150, 200, 70, GREY);

          	        }
      	        	LCD_Clear(80, 120, 36, 16, GREY);
      	        	testpassword = 0;
      	        }
      	    }
      	    if (keyCH == 'A') //decrease one number
      	    {
      	    	seconds = 0;
      	    	if (position == 80) continue;
      	    	position = position - 9;
      	    	LCD_Clear(position, 120, 8, 16, GREY);
      	    	testpassword = testpassword/10;
      	    }
      	    if (keyCH == 'C') // CLEAR NUMBER
      	    {
      	    	seconds = 0;
      	    	position = 80;
      	    	testpassword = 0000;
      	    	LCD_Clear(80, 120, 36, 16, GREY);
      	    }

      	    //////////////////////////////////////"确认进去管理员模�?"//////////////////////////
      	    while (enter == 1)
      	    {
      	    	ResetPassword();
      	    }
      	  if (enter == 2) {
      	      LCD_Clear(0,0,240,320,GREY);
      	    LCD_Clear(0, 0, 60, 60, BLUE);
      	    LCD_DrawString(10, 20, "BACK");
      	    LCD_DrawString(80,10,"Change NFC CARD");
      	    LCD_DrawLine(80, 28, 200, 28, BLACK);
      	      LCD_DrawString(0, 80, "PLEASE SCAN  NEW MANAGER CARD");
      	      LCD_DrawLine(0, 98, 150, 98, BLACK);
      	      LCD_Clear(180,260,60,60,BLUE);
      	    LCD_DrawString(190, 270, "NEXT");
      	      seconds = 0;
      	  }

      	  while (enter == 2)
      	  {
      	      sprintf(left_scond, "%lu  ", (30 - seconds));
      	      LCD_DrawString(80, 30, "left time:");
      	      LCD_DrawString(170, 30, left_scond);

      	      if (seconds >= 30)
      	      {
      	          DrawMainMenu();
      	          enter = -1;
      	      }

      	      if (XPT2046_Get_TouchedPoint(&strDisplayCoordinate, &strXPT2046_TouchPara))
      	      {
      	          if ((strDisplayCoordinate.y > 0 && strDisplayCoordinate.y < 60) &&
      	              (strDisplayCoordinate.x > 0 && strDisplayCoordinate.x < 60)) {
      	              DrawMainMenu(); // 触摸特定区域后返回主菜单
      	              enter = -1;
      	          }
      	          if ((strDisplayCoordinate.y > 260 && strDisplayCoordinate.y < 320) &&
      	              (strDisplayCoordinate.x > 180 && strDisplayCoordinate.x < 240)) {
      	              enter++;
      	          }
      	      }
      	    replace_manager_card(&pn532, buffer, uid);

    	  }

      	    while (enter == 3)
      	    {
      	    	fingerprintLibrary[0] = 0;
      	    	currentFingerprintCount--;
      	    	Add_FR();
      	    	if (fingerprintLibrary[0] ==0)
      	    	{
      	    		LCD_Clear(0,120,200,30,RED);
      	    		LCD_DrawString(10, 130, "Manager Fingerprint Reset Fail");
      	    		HAL_Delay(2000);
      	    	}

      	    }

    	  }//EMERGENCY WHILE END
      }

    }

      }
}

  }

    /* USER CODE END WHILE */

}

void SystemClock_Config(void)
{
  RCC_OscInitTypeDef RCC_OscInitStruct = {0};
  RCC_ClkInitTypeDef RCC_ClkInitStruct = {0};
  RCC_PeriphCLKInitTypeDef PeriphClkInit = {0};

  /** Initializes the RCC Oscillators according to the specified parameters
  * in the RCC_OscInitTypeDef structure.
  */
  RCC_OscInitStruct.OscillatorType = RCC_OSCILLATORTYPE_LSI|RCC_OSCILLATORTYPE_HSE;
  RCC_OscInitStruct.HSEState = RCC_HSE_ON;
  RCC_OscInitStruct.HSEPredivValue = RCC_HSE_PREDIV_DIV1;
  RCC_OscInitStruct.HSIState = RCC_HSI_ON;
  RCC_OscInitStruct.LSIState = RCC_LSI_ON;
  RCC_OscInitStruct.PLL.PLLState = RCC_PLL_ON;
  RCC_OscInitStruct.PLL.PLLSource = RCC_PLLSOURCE_HSE;
  RCC_OscInitStruct.PLL.PLLMUL = RCC_PLL_MUL9;
  if (HAL_RCC_OscConfig(&RCC_OscInitStruct) != HAL_OK)
  {
    Error_Handler();
  }

  /** Initializes the CPU, AHB and APB buses clocks
  */
  RCC_ClkInitStruct.ClockType = RCC_CLOCKTYPE_HCLK|RCC_CLOCKTYPE_SYSCLK
                              |RCC_CLOCKTYPE_PCLK1|RCC_CLOCKTYPE_PCLK2;
  RCC_ClkInitStruct.SYSCLKSource = RCC_SYSCLKSOURCE_PLLCLK;
  RCC_ClkInitStruct.AHBCLKDivider = RCC_SYSCLK_DIV1;
  RCC_ClkInitStruct.APB1CLKDivider = RCC_HCLK_DIV2;
  RCC_ClkInitStruct.APB2CLKDivider = RCC_HCLK_DIV1;

  if (HAL_RCC_ClockConfig(&RCC_ClkInitStruct, FLASH_LATENCY_2) != HAL_OK)
  {
    Error_Handler();
  }
  PeriphClkInit.PeriphClockSelection = RCC_PERIPHCLK_RTC;
  PeriphClkInit.RTCClockSelection = RCC_RTCCLKSOURCE_LSI;
  if (HAL_RCCEx_PeriphCLKConfig(&PeriphClkInit) != HAL_OK)
  {
    Error_Handler();
  }
}

void Error_Handler(void)
{
}
